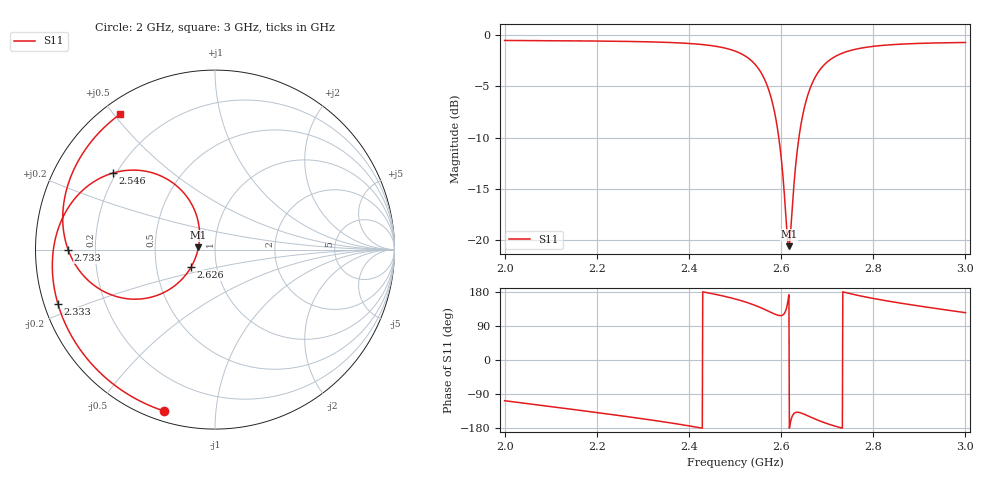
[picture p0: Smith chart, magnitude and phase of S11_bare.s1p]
! Touchstone file exported from HFSS 2025.1.0
!  File:  patch_bare.aedt
!  Generated:  12:58:50 PM Nov 15, 2026
!  Design:  patch_bare
!  Project:  patch_bare
!  Setup:  Setup1
!  Solution:  Sweep
# GHz S MA R 50.000000
! Terminal data exported
! Port[1] = P1
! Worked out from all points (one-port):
!   1001 points, 2 GHz to 3 GHz, reference 50 ohm
!   lowest |S11| = -20.6 dB at 2.617 GHz (marker M1), VSWR 1.21, Z = 41.5 + j1.06 ohm
!   |S11| at or under -10 dB: 2.595 GHz to 2.639 GHz (43.73 MHz wide, 1.67 % of centre)
!   S11 on the Smith chart (normalised r, x): 2 GHz: 0.05, -0.73; 2.333 GHz: 0.04, -0.17; 2.546 GHz: 0.19, +0.32; 2.626 GHz: 0.75, -0.15; 2.733 GHz: 0.10, -0.00; 3 GHz: 0.05, +0.52
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2  0.9431 -107.4
2.125  0.9397 -126.8
2.25  0.9341 -146.8
2.333  0.926 -161.0
2.375  0.9184 -168.8
2.446  0.8915 176.1
2.5  0.837 161.2
2.524  0.7868 152.6
2.546  0.71 143.0
2.568  0.5816 131.4
2.587  0.4082 120.7
2.598  0.2797 117.2
2.613  0.1074 143.3
2.617  0.09305 172.2
2.62  0.1048 -166.1
2.625  0.1518 -146.2
2.626  0.1632 -144.1
2.633  0.2477 -138.1
2.64  0.3308 -138.7
2.649  0.4275 -142.5
2.66  0.5266 -148.3
2.677  0.6408 -157.4
2.694  0.7186 -165.4
2.733  0.8176 -179.8
2.75  0.8417 175.1
2.804  0.8847 161.5
2.875  0.908 147.0
3  0.9216 124.9
